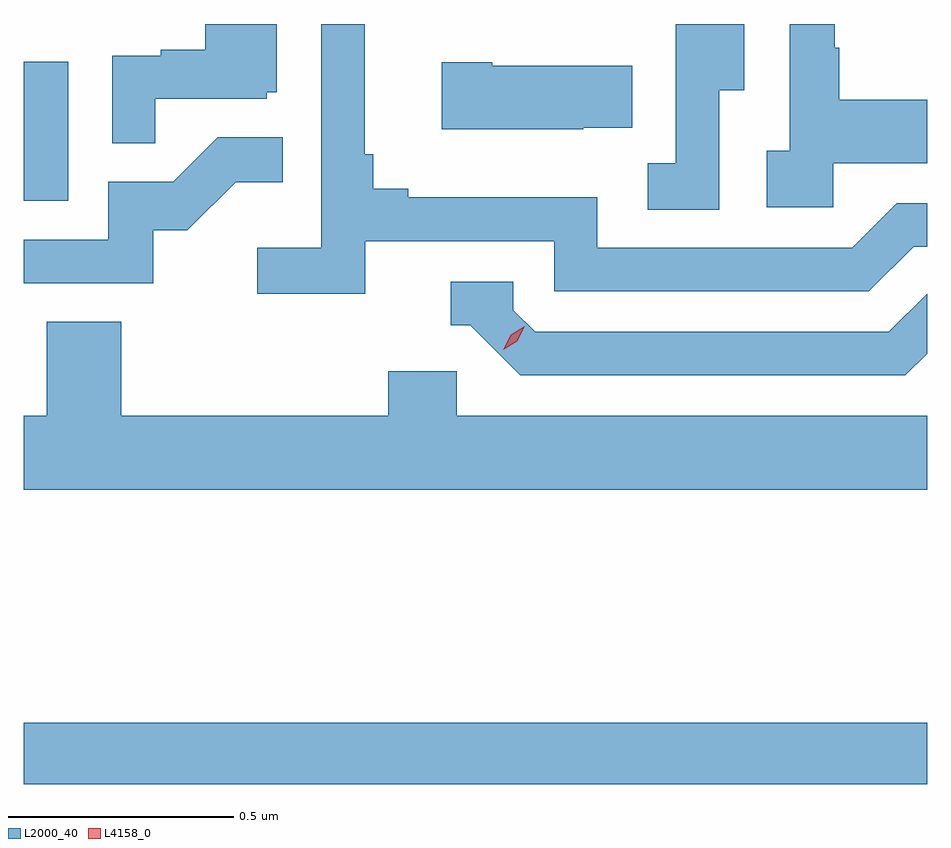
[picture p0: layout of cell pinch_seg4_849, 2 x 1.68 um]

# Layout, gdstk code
import gdstk
lib = gdstk.Library(unit=1e-6, precision=1e-09)
def R(c, l, rs):  # rectangles x0, y0, x1, y1
    for r in rs: c.add(gdstk.rectangle(r[:2], r[2:], *l))
def P(c, l, *ps):  # polygons
    for p in ps: c.add(gdstk.Polygon(p, *l))
L2000_40 = (2000, 40)
L4158_0 = (4158, 0)

pinch_seg4_849 = lib.new_cell('pinch_seg4_849')
R(pinch_seg4_849, L2000_40, [(868.016,806.824,870.016,806.96), (868.016,808.116,868.114,808.423)])
P(pinch_seg4_849, L2000_40, [(868.772,808.026),(869.19,808.026),(869.19,807.915),(869.887,807.915),(869.986,808.014),(870.016,808.014),(870.016,808.11),(869.949,808.11),(869.85,808.011),(869.286,808.011),(869.286,808.123),(868.867,808.123),(868.867,808.142),(868.79,808.142),(868.79,808.219),(868.771,808.219),(868.771,808.507),(868.674,808.507),(868.674,808.012),(868.533,808.012),(868.533,807.91),(868.772,807.91)],
  [(868.307,808.341),(868.554,808.341),(868.554,808.356),(868.576,808.356),(868.576,808.507),(868.418,808.507),(868.418,808.45),(868.319,808.45),(868.319,808.437),(868.212,808.437),(868.212,808.243),(868.307,808.243)],
  [(869.808,808.199),(870.016,808.199),(870.016,808.339),(869.821,808.339),(869.821,808.454),(869.811,808.454),(869.811,808.507),(869.712,808.507),(869.712,808.226),(869.661,808.226),(869.661,808.101),(869.808,808.101)],
  [(869.556,808.36),(869.611,808.36),(869.611,808.507),(869.459,808.507),(869.459,808.503),(869.46,808.503),(869.46,808.199),(869.397,808.199),(869.397,808.096),(869.556,808.096)],
  [(869.255,808.277),(869.363,808.277),(869.363,808.414),(869.053,808.414),(869.053,808.422),(868.941,808.422),(868.941,808.274),(869.255,808.274)],
  [(868.302,808.05),(868.378,808.05),(868.485,808.157),(868.589,808.157),(868.589,808.256),(868.445,808.256),(868.347,808.158),(868.203,808.158),(868.203,808.029),(868.016,808.029),(868.016,807.933),(868.302,807.933)],
  [(870.016,807.777),(870.016,807.91),(869.931,807.825),(869.148,807.825),(869.1,807.873),(869.1,807.936),(868.961,807.936),(868.961,807.84),(869.004,807.84),(869.115,807.729),(869.968,807.729)],
  [(870.016,807.64),(868.974,807.64),(868.974,807.738),(868.823,807.738),(868.823,807.64),(868.232,807.64),(868.232,807.848),(868.067,807.848),(868.067,807.64),(868.016,807.64),(868.016,807.476),(870.016,807.476)])
P(pinch_seg4_849, L4158_0, [(869.077,807.786),(869.077,807.786),(869.094,807.819),(869.125,807.838),(869.125,807.838),(869.125,807.838),(869.109,807.805),(869.078,807.786)])

lib.write_gds('pinch_seg4_849.gds')
